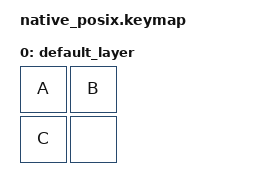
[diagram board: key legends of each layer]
#include <dt-bindings/zmk/keys.h>
#include <behaviors.dtsi>
#include <dt-bindings/zmk/kscan-mock.h>

/* 
	combo 0 timeout inf
    combo 01 timeout inf
    combo 0123 timeout inf
    press 012 in any combination, release any of those keys
    expected: combo 012 on key-release
 */

/* it is useful to set timeout to a large value when attaching a debugger. */
#define TIMEOUT (60*60*1000)

/ {
	behaviors {

		combo_one {
			compatible = "zmk,behavior-combo";
			label = "COMBO_ONE";
			timeout-ms = <TIMEOUT>;
			key-positions = <0 1 2>;
			bindings = <&kp X>;
		};

		combo_two {
			compatible = "zmk,behavior-combo";
			label = "COMBO_TWO";
			timeout-ms = <TIMEOUT>;
			key-positions = <0 2>;
			bindings = <&kp Y>;
		};

		combo_three {
			compatible = "zmk,behavior-combo";
			label = "COMBO_THREE";
			timeout-ms = <TIMEOUT>;
			key-positions = <1>;
			bindings = <&kp Z>;
		};
	};

	keymap {
		compatible = "zmk,keymap";
		label ="Default keymap";

		default_layer {
			bindings = <
				&kp A &kp B
				&kp C &none
			>;
		};
	};
};
&kscan {
	events = <
		/* all permutations of combo one press, combo triggered by release */
		/* while debugging these, you may want to set the release_timer to a high number */
		ZMK_MOCK_PRESS(0,0,10) 
		ZMK_MOCK_PRESS(0,1,10) 
		ZMK_MOCK_PRESS(0,2,10) 
		ZMK_MOCK_RELEASE(0,0,10) 
		ZMK_MOCK_RELEASE(0,1,10)
		ZMK_MOCK_RELEASE(0,2,10)
 
		ZMK_MOCK_PRESS(0,0,10) 
		ZMK_MOCK_PRESS(0,2,10) 
		ZMK_MOCK_PRESS(0,1,10) 
		ZMK_MOCK_RELEASE(0,0,10) 
		ZMK_MOCK_RELEASE(0,2,10)
		ZMK_MOCK_RELEASE(0,1,10)

		ZMK_MOCK_PRESS(0,1,10) 
		ZMK_MOCK_PRESS(0,0,10) 
		ZMK_MOCK_PRESS(0,2,10) 
		ZMK_MOCK_RELEASE(0,1,10)
		ZMK_MOCK_RELEASE(0,0,10) 
		ZMK_MOCK_RELEASE(0,2,10)

		ZMK_MOCK_PRESS(0,1,10) 
		ZMK_MOCK_PRESS(0,2,10) 
		ZMK_MOCK_PRESS(0,0,10) 
		ZMK_MOCK_RELEASE(0,1,10)
		ZMK_MOCK_RELEASE(0,2,10)
		ZMK_MOCK_RELEASE(0,0,10) 

		ZMK_MOCK_PRESS(0,2,10) 
		ZMK_MOCK_PRESS(0,0,10) 
		ZMK_MOCK_PRESS(0,1,10) 
		ZMK_MOCK_RELEASE(0,2,10)
		ZMK_MOCK_RELEASE(0,0,10) 
		ZMK_MOCK_RELEASE(0,1,10)

		ZMK_MOCK_PRESS(0,2,10) 
		ZMK_MOCK_PRESS(0,1,10) 
		ZMK_MOCK_PRESS(0,0,10) 
		ZMK_MOCK_RELEASE(0,2,10)
		ZMK_MOCK_RELEASE(0,1,10)
		ZMK_MOCK_RELEASE(0,0,10) 
		
		/* all permutations of combo two press and release, combo triggered by release */
		ZMK_MOCK_PRESS(0,0,10) 
		ZMK_MOCK_PRESS(0,2,10) 
		ZMK_MOCK_RELEASE(0,0,10) 
		ZMK_MOCK_RELEASE(0,2,10)

		ZMK_MOCK_PRESS(0,2,10) 
		ZMK_MOCK_PRESS(0,0,10) 
		ZMK_MOCK_RELEASE(0,2,10)
		ZMK_MOCK_RELEASE(0,0,10) 

		ZMK_MOCK_PRESS(0,2,10) 
		ZMK_MOCK_PRESS(0,0,10) 
		ZMK_MOCK_RELEASE(0,0,10) 
		ZMK_MOCK_RELEASE(0,2,10)

		ZMK_MOCK_PRESS(0,0,10)  
		ZMK_MOCK_PRESS(0,2,10) 
		ZMK_MOCK_RELEASE(0,2,10)
		ZMK_MOCK_RELEASE(0,0,10)
	>;
};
